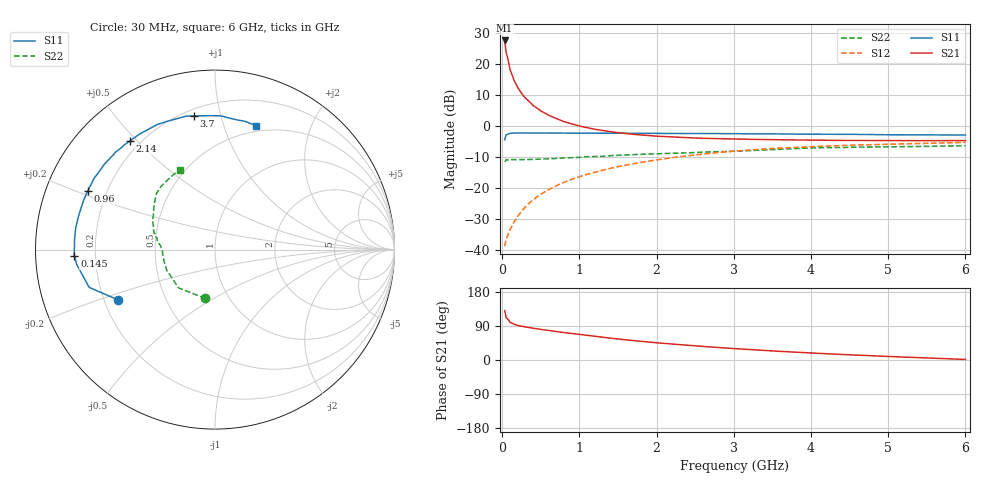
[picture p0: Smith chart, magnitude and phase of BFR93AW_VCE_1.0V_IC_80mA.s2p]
! Infineon Technologies  Discrete & RF Semiconductors
! BFR93AW
! VCE =  1.0 V,  IC =  80 mA
! Common Emitter S-Parameters:  Nov 2015
# GHz  S  MA  R  50
!  f  S11  S21  S12  S22
! GHz  MAG  ANG  MAG  ANG  MAG  ANG  MAG  ANG
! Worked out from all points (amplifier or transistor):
!   206 points, 30 MHz to 6 GHz, reference 50 ohm
!   highest |S21| = 27.7 dB at 30 MHz (marker M1)
!   |S21| within 3 dB of that: start of sweep to 45.79 MHz
!   unconditionally stable (mu >= 1): start of sweep to end of sweep
!   at 200 MHz: K = 1.45, MAG = 16.8 dB, |S12| = -29.0 dB
!   at 1.56 GHz: K = 1.32, MAG = 1.9 dB, |S12| = -12.7 dB
!   at 6 GHz: K = 1.07, MAG = -1.3 dB, |S12| = -5.2 dB
!   S11 on the Smith chart (normalised r, x): 30 MHz: 0.26, -0.23; 145 MHz: 0.12, -0.02; 960 MHz: 0.13, +0.22; 2.14 GHz: 0.16, +0.48; 3.7 GHz: 0.24, +0.83; 6 GHz: 0.44, +1.29
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0.03  0.6068 -152.4  24.37 130.4  0.0117 52.3  0.277 -101.2
0.05  0.7319 -163.3  15.61 111.5  0.015 49.7  0.2944 -133.6
0.1  0.7751 -173.9  8.28 99.1  0.0216 57.3  0.2925 -156.8
0.145  0.7842 -177.5  5.85 95.1  0.0276 62.3  0.2912 -164.3
0.15  0.7854 -177.9  5.582 94.5  0.0283 62.7  0.2914 -165.1
0.2  0.7834 179.1  4.231 91.1  0.0354 66.8  0.2909 -169.8
0.24  0.7846 177.0  3.569 89.5  0.0413 69.2  0.2919 -172.3
0.3  0.7844 174.6  2.857 87.0  0.0506 70.9  0.2921 -174.8
0.4  0.7852 171.0  2.176 83.7  0.0656 71.7  0.2931 -178.3
0.5  0.7835 168.1  1.776 80.7  0.0805 72.2  0.2982 179.3
0.6  0.7829 165.4  1.516 78.1  0.0954 71.8  0.3005 177.6
0.8  0.7821 159.5  1.196 72.5  0.1254 70.3  0.3113 174.7
0.96  0.7804 155.3  1.048 68.4  0.1489 68.6  0.315 172.6
1.04  0.7801 153.3  0.99 66.3  0.1604 67.6  0.3201 171.7
1.4  0.7774 144.4  0.823 57.6  0.2105 63.0  0.3384 167.8
2.02  0.7714 130.6  0.694 45.1  0.2908 54.7  0.3626 161.7
2.14  0.7689 128.1  0.682 43.1  0.3059 53.0  0.3659 160.0
3.1  0.7613 109.1  0.623 29.0  0.4067 39.7  0.4021 148.3
3.7  0.754 99.0  0.607 21.7  0.4531 31.7  0.4332 140.5
4.1  0.7471 92.9  0.599 17.5  0.4772 26.7  0.4529 135.3
5.1  0.7334 80.8  0.591 8.5  0.5197 16.1  0.4696 124.0
6  0.727 71.8  0.592 1.6  0.5527 8.1  0.4868 113.9
